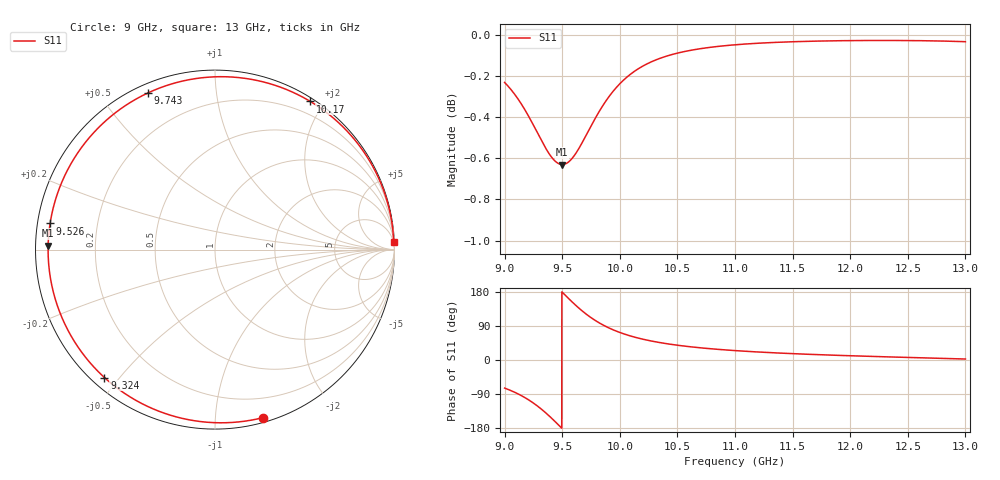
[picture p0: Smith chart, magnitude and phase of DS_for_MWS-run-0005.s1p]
! TOUCHSTONE file generated by CST DESIGN STUDIO
! Date and time: Tue Feb  4 12:47:56 2025
! Project name: C:\Work\MatlabApps\UnitCellOptimizationMatlab\CST\unitcell.cst
! Tree item: Tasks\Sweep1\SPara1\S-Parameters
! Header version: 2024
! Port assignment regex: !\s*Touchstone port\s*([0-9]+)\s*=\s*(CST MWS port|CST DES external port|CST DES block port)\s*(.+)\s* \(\"(.*)\"\)(\s*mode\s*([0-9]+))?.*
! Touchstone port assignment:
! Touchstone port 1 = CST DES external port 1 ("")
# GHz S MA R 50
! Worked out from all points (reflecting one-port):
!   4001 points, 9 GHz to 13 GHz, reference 50 ohm
!   lowest |S11| = -0.6 dB at 9.501 GHz (marker M1), VSWR 27.56, Z = 1.81 + j0.613 ohm
!   phase of S11 starts at -74 deg and turns -283 deg over the sweep
!   S11 on the Smith chart (normalised r, x): 9 GHz: 0.04, -1.32; 9.324 GHz: 0.04, -0.46; 9.526 GHz: 0.04, +0.08; 9.743 GHz: 0.04, +0.66; 10.17 GHz: 0.04, +1.83; 13 GHz: 4, +44
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9  0.9737 -74.1
9.086  0.9674 -85.0
9.187  0.9578 -101.2
9.258  0.9498 -115.4
9.324  0.9421 -130.8
9.371  0.9371 -143.2
9.42  0.9329 -157.1
9.461  0.9307 -169.3
9.5  0.93 178.9
9.501  0.93 178.6
9.526  0.9303 171.0
9.579  0.9327 155.2
9.639  0.9378 138.4
9.69  0.9433 125.4
9.743  0.9494 113.3
9.795  0.9552 102.8
9.853  0.9612 92.6
9.926  0.9676 81.8
10  0.973 72.7
10.168  0.9815 57.2
10.319  0.9862 47.5
10.5  0.9898 39.0
10.722  0.9925 31.5
11  0.9944 24.8
11.5  0.9961 16.8
12  0.9968 11.2
12.5  0.9968 6.8
13  0.9961 2.6
